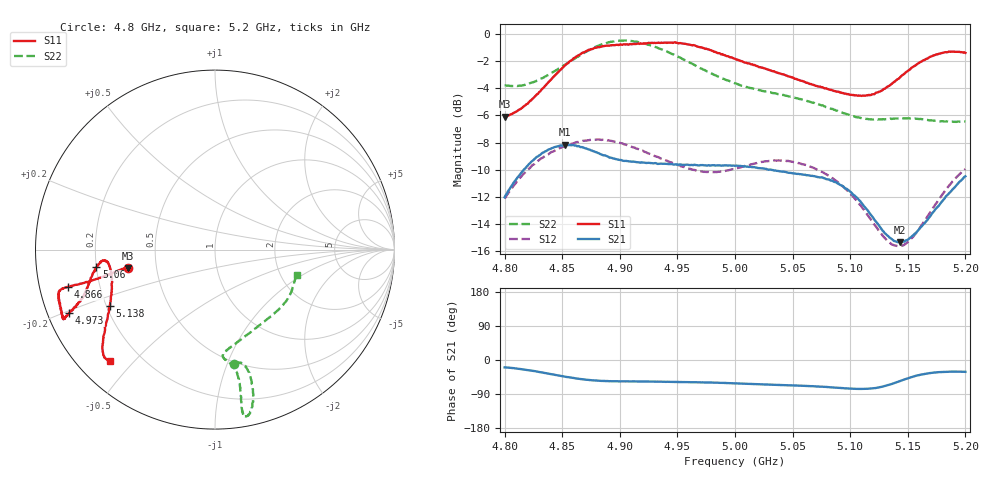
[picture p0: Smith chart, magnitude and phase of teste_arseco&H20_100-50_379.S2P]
! Network Analyzer HP8722D
! Hewlett-Packard
! Data name: Linha & Wilkinson
! Saver's name: Rodrigo Anjos
! Comments: Teste da utilização de aquisição
! continua pelo VNA HP8722D
! Time and date: 6/5/2025 15:43
!  Frequency  S11  S21  S12  S22
# HZ  S  MA R 50
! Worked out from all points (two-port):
!   401 points, 4.8 GHz to 5.2 GHz, reference 50 ohm
!   highest |S21| = -8.14 dB at 4.852 GHz (marker M1); lowest = -15.3 dB at 5.143 GHz (marker M2)
!   |S21| within 3 dB of the highest: 4.806 GHz to 5.092 GHz (285.9 MHz wide, 5.78 % of centre); 5.192085 GHz to end of sweep
!   lowest |S11| = -6.1 dB at 4.8 GHz (marker M3), VSWR 2.97, Z = 17 - j4.6 ohm
!   |S11| at or under -10 dB: nowhere
!   |S22| runs from -6.5 to -0.5 dB; largest |S21 - S12| = 0.62
!   S11 on the Smith chart (normalised r, x): 4.8 GHz: 0.34, -0.09; 4.866 GHz: 0.09, -0.12; 4.973 GHz: 0.06, -0.21; 5.06 GHz: 0.20, -0.07; 5.138 GHz: 0.21, -0.24; 5.2 GHz: 0.09, -0.43
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4.8e9  0.4962 -168.1  0.2508 -19.5  0.2483 -140.7  0.6471 -80.4
4.826e9  0.587 -167.1  0.3471 -29.4  0.3324 -144.4  0.6673 -75.6
4.852e9  0.7632 -165.8  0.3916 -43.8  0.3867 -149.2  0.7687 -74.5
4.866e9  0.8431 -165.8  0.3831 -50.2  0.4026 -151.6  0.8372 -75.1
4.867e9  0.8498 -165.8  0.3837 -50.7  0.4031 -151.8  0.8425 -75.4
4.899e9  0.91 -162.7  0.3445 -56.4  0.3982 -156.6  0.9437 -79.0
4.934e9  0.9284 -156.4  0.333 -57.4  0.3514 -155.6  0.8832 -80.3
4.953e9  0.925 -155.4  0.3309 -58.0  0.3259 -152.0  0.8163 -79.8
4.973e9  0.8865 -156.5  0.3287 -59.3  0.3108 -145.8  0.7384 -79.7
5e9  0.8101 -159.0  0.3271 -61.7  0.3197 -137.2  0.6583 -81.2
5.036e9  0.722 -165.4  0.3137 -65.9  0.3416 -134.3  0.6025 -85.7
5.06e9  0.6676 -171.6  0.3033 -68.2  0.3307 -136.0  0.5711 -84.3
5.067e9  0.6512 -173.0  0.3008 -69.0  0.3228 -136.6  0.5592 -82.6
5.083e9  0.6223 -174.4  0.2886 -72.0  0.2974 -138.1  0.5313 -76.7
5.101e9  0.5973 -172.0  0.2609 -75.7  0.2562 -138.7  0.5011 -66.5
5.117e9  0.5954 -164.8  0.2186 -75.6  0.2101 -135.0  0.4855 -55.1
5.134e9  0.6447 -154.2  0.1785 -65.4  0.171 -120.9  0.4865 -43.4
5.138e9  0.6654 -151.8  0.1733 -61.4  0.167 -115.7  0.4879 -40.8
5.143e9  0.6899 -149.2  0.1712 -55.9  0.1661 -109.2  0.4877 -38.0
5.154e9  0.754 -144.3  0.1808 -44.4  0.1785 -95.1  0.489 -32.4
5.173e9  0.8346 -138.7  0.2235 -33.1  0.2326 -80.7  0.4801 -24.3
5.2e9  0.8517 -133.5  0.2995 -31.3  0.3184 -76.8  0.4772 -17.6
